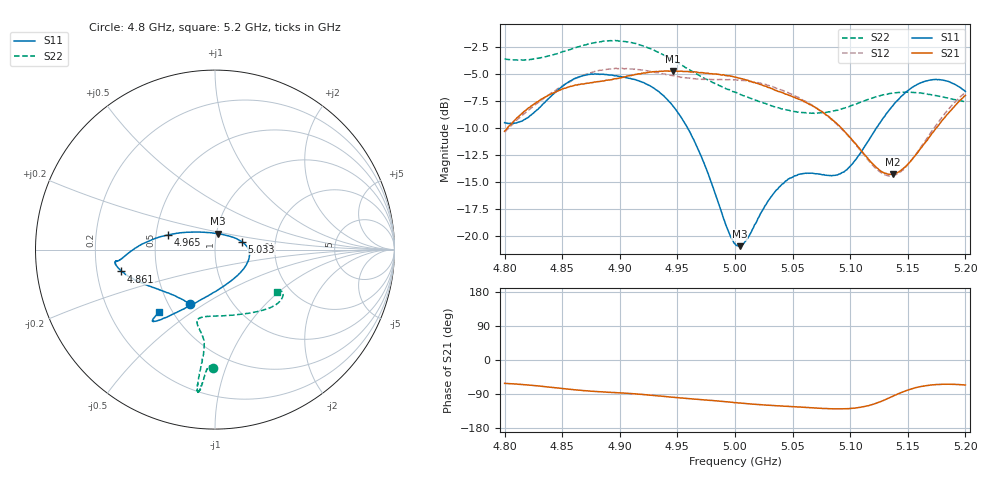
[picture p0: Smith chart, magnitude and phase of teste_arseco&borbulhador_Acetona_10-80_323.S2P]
! Network Analyzer HP8722D
! Hewlett-Packard
! Data name: Linha & Wilkinson
! Saver's name: Rodrigo Anjos
! Comments: Teste da utilização de aquisição
! continua pelo VNA HP8722D
! Time and date: 17/4/2025 17:03
!  Frequency  S11  S21  S12  S22
# HZ  S  MA R 50
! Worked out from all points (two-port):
!   401 points, 4.8 GHz to 5.2 GHz, reference 50 ohm
!   highest |S21| = -4.73 dB at 4.946 GHz (marker M1); lowest = -14.3 dB at 5.137 GHz (marker M2)
!   |S21| within 3 dB of the highest: 4.826 GHz to 5.063 GHz (236.8 MHz wide, 4.79 % of centre); 5.192848 GHz to end of sweep
!   lowest |S11| = -20.9 dB at 5.004 GHz (marker M3), VSWR 1.20, Z = 50.7 + j9.08 ohm
!   |S11| at or under -10 dB: 4.959 GHz to 5.123 GHz (164 MHz wide, 3.25 % of centre)
!   |S22| runs from -8.7 to -1.9 dB; largest |S21 - S12| = 0.87
!   S11 on the Smith chart (normalised r, x): 4.8 GHz: 0.64, -0.43; 4.861 GHz: 0.31, -0.10; 4.965 GHz: 0.58, +0.10; 5.033 GHz: 1.35, +0.12; 5.2 GHz: 0.43, -0.38
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4.8e9  0.3345 -115.0  0.3054 -61.7  0.3025 -176.1  0.6571 -91.2
4.819e9  0.3504 -135.1  0.3842 -65.6  0.3753 -175.5  0.6533 -92.9
4.861e9  0.5352 -166.9  0.4975 -78.9  0.5328 -178.9  0.7406 -95.3
4.867e9  0.5491 -169.3  0.5045 -80.5  0.5494 -179.9  0.7576 -95.6
4.9e9  0.5466 -173.5  0.538 -86.6  0.5943 173.8  0.7966 -96.9
4.934e9  0.4645 -179.3  0.5764 -95.0  0.5676 170.4  0.703 -97.2
4.946e9  0.4003 175.2  0.5799 -98.2  0.5509 170.7  0.6504 -96.8
4.965e9  0.2729 162.4  0.5743 -103.3  0.5332 172.4  0.5687 -96.3
4.994e9  0.1062 115.6  0.5494 -110.6  0.5276 174.4  0.4758 -98.9
5e9  0.0923 95.2  0.5433 -112.7  0.5274 174.5  0.4623 -100.0
5.004e9  0.09002 80.1  0.537 -113.3  0.5243 174.5  0.4533 -101.0
5.011e9  0.09781 56.1  0.5258 -115.4  0.5196 174.3  0.4383 -102.3
5.033e9  0.1564 16.4  0.4778 -120.1  0.4901 173.2  0.3982 -103.6
5.048e9  0.1857 1.6  0.4456 -122.8  0.4556 172.8  0.3793 -99.4
5.067e9  0.1956 -18.8  0.4008 -126.0  0.4023 172.1  0.3697 -88.9
5.096e9  0.2013 -69.6  0.3012 -128.5  0.2992 174.4  0.3923 -66.1
5.12e9  0.2992 -107.4  0.2149 -116.7  0.2114 -171.2  0.4355 -49.8
5.134e9  0.3826 -118.9  0.1929 -99.9  0.1893 -152.0  0.4557 -43.1
5.137e9  0.4002 -120.5  0.1929 -95.6  0.1905 -147.3  0.4586 -41.9
5.148e9  0.461 -125.5  0.2097 -81.6  0.2079 -131.2  0.4626 -37.9
5.17e9  0.5267 -130.5  0.2931 -66.0  0.3011 -112.3  0.4506 -32.9
5.2e9  0.4655 -131.8  0.4466 -66.0  0.4614 -108.4  0.4169 -34.6
